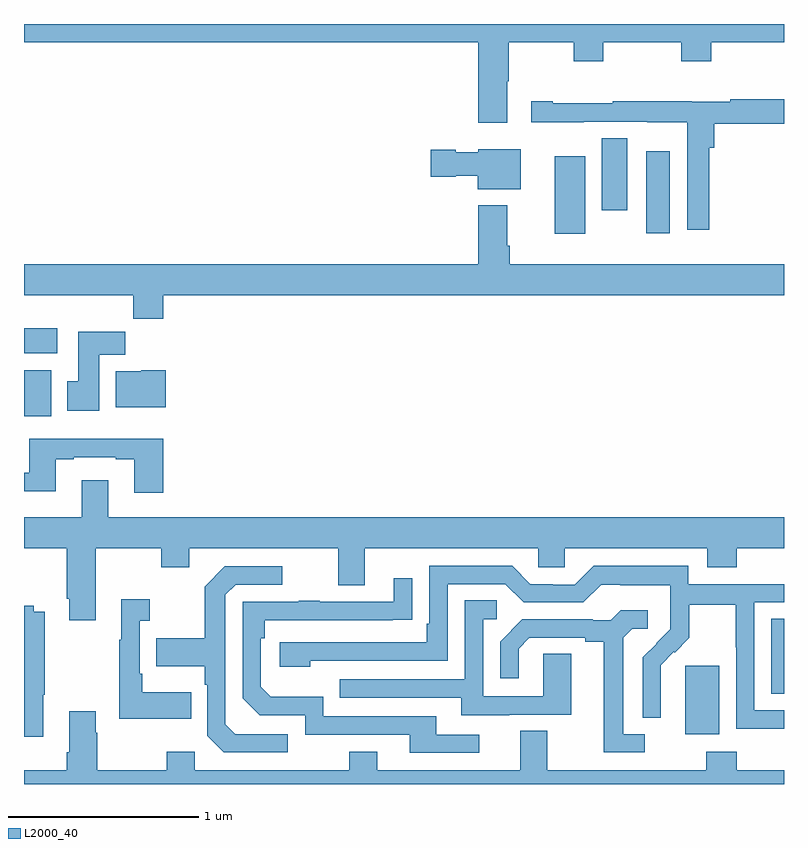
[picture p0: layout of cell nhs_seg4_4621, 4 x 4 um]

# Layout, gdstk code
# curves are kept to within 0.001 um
import gdstk
lib = gdstk.Library(unit=1e-6, precision=1e-09)
def R(c, l, rs):  # rectangles x0, y0, x1, y1
    for r in rs: c.add(gdstk.rectangle(r[:2], r[2:], *l))
def P(c, l, *ps):  # polygons
    for p in ps: c.add(gdstk.Polygon(p, *l))
L2000_40 = (2000, 40)

nhs_seg4_4621 = lib.new_cell('nhs_seg4_4621')
R(nhs_seg4_4621, L2000_40, [(362.48,809.162,362.659,809.523), (362.933,809.374,363,809.771), (359,810.836,359.143,811.078), (359,811.166,359.176,811.3), (361.793,811.797,361.954,812.203), (362.276,811.8,362.398,812.23), (362.042,811.92,362.176,812.3)])
P(nhs_seg4_4621, L2000_40, [(361.543,812.6),(361.551,812.6),(361.551,812.804),(361.894,812.804),(361.894,812.705),(362.049,812.705),(362.049,812.804),(362.458,812.804),(362.458,812.705),(362.618,812.705),(362.618,812.804),(363,812.804),(363,812.9),(359,812.9),(359,812.804),(361.391,812.804),(361.391,812.379),(361.543,812.379)],
  [(362.606,812.249),(362.633,812.249),(362.633,812.374),(363,812.374),(363,812.503),(362.716,812.503),(362.716,812.492),(362.514,812.492),(362.514,812.494),(362.099,812.494),(362.099,812.484),(361.783,812.484),(361.783,812.494),(361.671,812.494),(361.671,812.384),(361.946,812.384),(361.946,812.385),(362.28,812.385),(362.28,812.384),(362.49,812.384),(362.49,811.818),(362.606,811.818)],
  [(361.615,812.242),(361.392,812.242),(361.392,812.224),(361.272,812.224),(361.272,812.237),(361.14,812.237),(361.14,812.095),(361.272,812.095),(361.272,812.102),(361.388,812.102),(361.388,812.03),(361.615,812.03)],
  [(359.732,811.472),(363,811.472),(363,811.636),(361.556,811.636),(361.556,811.732),(361.543,811.732),(361.543,811.945),(361.391,811.945),(361.391,811.636),(359,811.636),(359,811.472),(359.575,811.472),(359.575,811.348),(359.732,811.348)],
  [(359.395,811.16),(359.534,811.16),(359.534,811.279),(359.285,811.279),(359.285,811.02),(359.228,811.02),(359.228,810.864),(359.395,810.864)],
  [(359.747,811.078),(359.616,811.078),(359.616,811.072),(359.483,811.072),(359.483,810.884),(359.747,810.884)],
  [(359.732,810.718),(359.027,810.718),(359.027,810.537),(359,810.537),(359,810.44),(359.167,810.44),(359.167,810.609),(359.263,810.609),(359.263,810.621),(359.483,810.621),(359.483,810.609),(359.579,810.609),(359.579,810.432),(359.732,810.432)],
  [(359.377,810.14),(359.722,810.14),(359.722,810.041),(359.869,810.041),(359.869,810.14),(360.653,810.14),(360.653,809.946),(360.793,809.946),(360.793,810.14),(361.707,810.14),(361.707,810.042),(361.845,810.042),(361.845,810.14),(362.597,810.14),(362.597,810.041),(362.75,810.041),(362.75,810.14),(363,810.14),(363,810.304),(359.443,810.304),(359.443,810.499),(359.303,810.499),(359.303,810.304),(359,810.304),(359,810.14),(359.225,810.14),(359.225,809.875),(359.237,809.875),(359.237,809.763),(359.377,809.763)],
  [(363,809.289),(362.844,809.289),(362.844,809.856),(363,809.856),(363,809.952),(362.496,809.952),(362.496,810.049),(361.999,810.049),(361.899,809.949),(361.784,809.949),(361.784,809.952),(361.665,809.952),(361.569,810.048),(361.134,810.048),(361.134,809.743),(361.121,809.743),(361.121,809.646),(360.345,809.646),(360.345,809.516),(360.506,809.516),(360.506,809.55),(361.23,809.55),(361.23,809.952),(361.533,809.952),(361.629,809.856),(361.944,809.856),(362.037,809.949),(362.137,809.949),(362.137,809.945),(362.4,809.945),(362.4,809.811),(362.402,809.811),(362.402,809.714),(362.256,809.566),(362.256,809.248),(362.352,809.248),(362.351,809.525),(362.421,809.595),(362.424,809.592),(362.501,809.669),(362.501,809.844),(362.746,809.844),(362.746,809.62),(362.748,809.62),(362.748,809.191),(363,809.191)],
  [(360.388,809.163),(360.111,809.163),(360.06,809.214),(360.06,809.895),(360.114,809.949),(360.358,809.949),(360.358,810.045),(360.057,810.045),(359.952,809.939),(359.952,809.667),(359.695,809.667),(359.695,809.519),(359.952,809.519),(359.952,809.423),(359.964,809.423),(359.964,809.154),(360.051,809.067),(360.388,809.067)],
  [(361.396,809.16),(361.171,809.16),(361.171,809.256),(360.576,809.256),(360.576,809.359),(360.299,809.359),(360.246,809.412),(360.246,809.666),(360.266,809.666),(360.266,809.763),(361.043,809.764),(361.043,809.983),(360.947,809.983),(360.947,809.859),(360.557,809.859),(360.557,809.864),(360.445,809.864),(360.445,809.859),(360.15,809.859),(360.15,809.352),(360.24,809.262),(360.48,809.262),(360.48,809.16),(361.031,809.16),(361.031,809.064),(361.396,809.064)],
  [(359.879,809.383),(359.623,809.383),(359.623,809.479),(359.61,809.479),(359.61,809.759),(359.662,809.759),(359.662,809.872),(359.513,809.872),(359.513,809.659),(359.502,809.659),(359.502,809.243),(359.879,809.243)],
  [(361.555,809.265),(361.879,809.265),(361.879,809.585),(361.734,809.585),(361.734,809.361),(361.416,809.361),(361.416,809.766),(361.489,809.766),(361.489,809.867),(361.32,809.867),(361.32,809.451),(360.661,809.451),(360.661,809.355),(361.301,809.355),(361.301,809.261),(361.555,809.261)],
  [(359.101,809.371),(359.109,809.371),(359.109,809.806),(359.052,809.806),(359.052,809.839),(359,809.839),(359,809.148),(359.101,809.148)],
  [(362.266,809.163),(362.155,809.163),(362.155,809.671),(362.202,809.718),(362.284,809.718),(362.284,809.815),(362.14,809.815),(362.088,809.763),(361.994,809.763),(361.994,809.766),(361.622,809.766),(361.506,809.65),(361.506,809.457),(361.603,809.457),(361.603,809.613),(361.66,809.67),(361.955,809.67),(361.955,809.648),(362.051,809.648),(362.051,809.067),(362.266,809.067)],
  [(363,808.972),(362.75,808.972),(362.75,809.071),(362.59,809.071),(362.59,808.972),(361.753,808.972),(361.753,809.18),(361.613,809.18),(361.613,808.972),(360.859,808.972),(360.859,809.071),(360.712,809.071),(360.712,808.972),(359.898,808.972),(359.898,809.071),(359.752,809.071),(359.752,808.972),(359.385,808.972),(359.385,809.171),(359.377,809.171),(359.377,809.284),(359.237,809.284),(359.237,809.068),(359.225,809.068),(359.225,808.972),(359,808.972),(359,808.9),(363,808.9)])

lib.write_gds('nhs_seg4_4621.gds')
